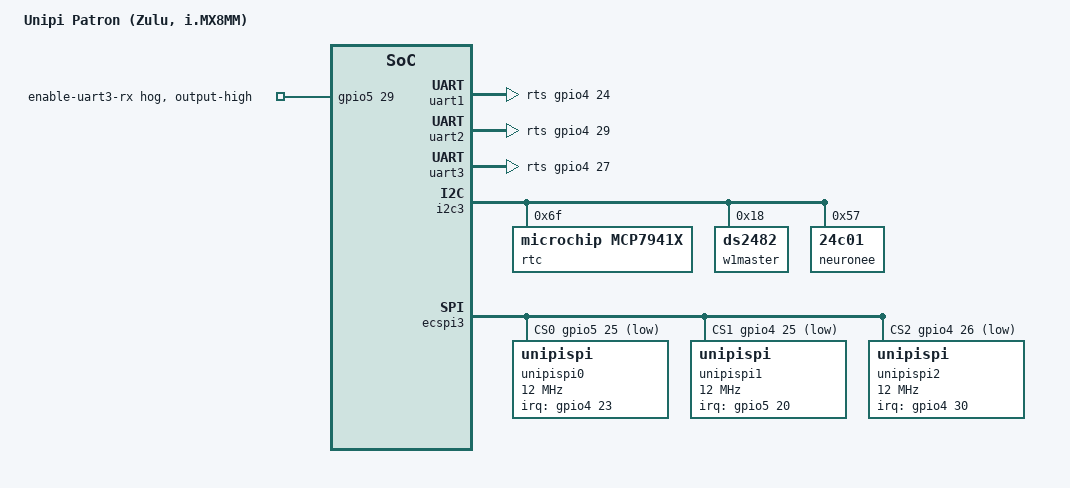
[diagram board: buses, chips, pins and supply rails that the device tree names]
// SPDX-License-Identifier: (GPL-2.0+ OR MIT)
/*
 * Copyright 2020 Faster CZ
 * Copyright 2019 NXP
 */

/dts-v1/;

#include <dt-bindings/usb/pd.h>
#include "unipi-zulu.dtsi"

/ {
	model = "Unipi Patron (Zulu, i.MX8MM)";
};

&uart1 {
	pinctrl-names = "default";
	pinctrl-0 = <&pinctrl_uart1>, <&pinctrl_uart1_ctrl>;
	status = "okay";
	rts-gpios = <&gpio4 24 GPIO_ACTIVE_HIGH>;
    linux,rs485-enabled-at-boot-time;
};

&uart2 {
	pinctrl-names = "default";
	pinctrl-0 = <&pinctrl_uart2>, <&pinctrl_uart2_ctrl>;
	status = "okay";
	rts-gpios = <&gpio4 29 GPIO_ACTIVE_HIGH>;
    linux,rs485-enabled-at-boot-time;
};

&uart3 { /* console */
	pinctrl-names = "default";
	pinctrl-0 = <&pinctrl_uart3>, <&pinctrl_uart3_ctrl>;
	status = "okay";
	rts-gpios = <&gpio4 27 GPIO_ACTIVE_HIGH>;
};

&i2c3 {
	status = "okay";

    rtc@6f {
            compatible = "microchip,mcp7941x";
            reg = <0x6f>;
			/*
              interrupt-parent = <&gpio2>;
			  interrupts = <20 IRQ_TYPE_LEVEL_LOW>;
			  pinctrl-names = "default";
			  pinctrl-0 = <&rtc_int>;
            */
    };

    w1master@18 {
            compatible = "ds2482";
            reg = <0x18>;
    };

    neuronee@57 {
            compatible = "24c01";
            reg = <0x57>;
    };
};



&ecspi2 {
	fsl,spi-num-chipselects = <0>;
	pinctrl-names = "default";
	pinctrl-0 = <&pinctrl_ecspi2>, <&pinctrl_ecspi2_cs>;
	cs-gpios = <&gpio5 13 1>;
	status = "disabled";

    mram0: m25p80@0 {
        #address-cells = <1>;
        #size-cells = <1>;
        compatible = "me48lm01";
        reg = <0>;
        spi-max-frequency = <40000000>;
        size = <131072>;
        pagesize = <128>;
        address-width = <24>;
        status = "disabled";
     };
};


&ecspi3 {
	fsl,spi-num-chipselects = <0>;
	pinctrl-names = "default";
	pinctrl-0 = <&pinctrl_ecspi3>, <&pinctrl_ecspi3_cs>;
	cs-gpios = <&gpio5 25 1>, <&gpio4 25 1>, <&gpio4 26 1>;
	status = "okay";

    mram1: m25p80@0 {
		#address-cells = <1>;
        #size-cells = <1>;
        compatible = "me48lm01";
        reg = <0>;
        spi-max-frequency = <40000000>;
        size = <131072>;
        pagesize = <128>;
        address-width = <24>;
        status = "disabled";
    };

    unipispi0: unipispi@0 {
        compatible = "unipispi";
        reg = <0>;
        status = "okay";
        spi-max-frequency = <12000000>;
        interrupt-parent = <&gpio4>;
        interrupts = <23 IRQ_TYPE_EDGE_RISING>;   // gpio4.23
        neuron-board-index = <0>;
    };

    unipispi1: unipispi@1 {
        compatible = "unipispi";
        reg = <1>;
        status = "okay";
        spi-max-frequency = <12000000>;
        interrupt-parent = <&gpio5>;
        interrupts = <20 IRQ_TYPE_EDGE_RISING>;   // gpio5.20
        neuron-board-index = <1>;
    };

    unipispi2: unipispi@2 {
        compatible = "unipispi";
        reg = <2>;
        status = "okay";
        spi-max-frequency = <12000000>;
        interrupt-parent = <&gpio4>;
        interrupts = <30 IRQ_TYPE_EDGE_RISING>;   // gpio4.30
        neuron-board-index = <2>;
    };
};

&gpio5 {
	enable_uart3_rx {
		pinctrl-names = "default";
		pinctrl-0 = <&pinctrl_uart3_enable>;
        gpio-hog;
        gpios = <29 GPIO_ACTIVE_HIGH>;
        output-high;
        line-name = "enable-uart3-rx";
    };
};


&iomuxc {

	pinctrl_ecspi2_cs: ecspi2cs {
		fsl,pins = <
			MX8MM_IOMUXC_ECSPI2_SS0_GPIO5_IO13          0x04
		>;
	};

	pinctrl_ecspi3_cs: ecspi3cs {
		fsl,pins = <
			MX8MM_IOMUXC_UART2_TXD_GPIO5_IO25			0x16
			MX8MM_IOMUXC_SAI2_TXC_GPIO4_IO25			0x16
			MX8MM_IOMUXC_SAI2_TXD0_GPIO4_IO26			0x16
			MX8MM_IOMUXC_SAI2_RXD0_GPIO4_IO23			0x19
			MX8MM_IOMUXC_I2C4_SCL_GPIO5_IO20			0x19
			MX8MM_IOMUXC_SAI3_RXD_GPIO4_IO30			0x19
		>;
	};

	pinctrl_uart3_enable: uart3enagrp {
		fsl,pins = < /* enable */
			MX8MM_IOMUXC_UART4_TXD_GPIO5_IO29		0x040
		>;
	};
};
